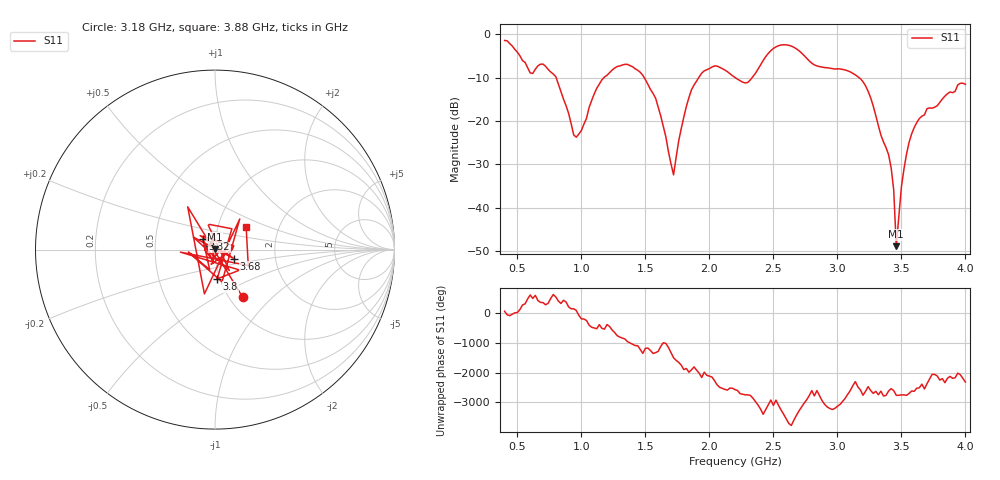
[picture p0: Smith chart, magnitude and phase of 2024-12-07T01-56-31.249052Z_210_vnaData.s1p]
!Created with skrf (http://scikit-rf.org).
# Hz S RI R 50.0
!freq ReS11 ImS11
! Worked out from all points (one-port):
!   181 points, 400 MHz to 4 GHz, reference 50 ohm
!   lowest |S11| = -48.9 dB at 3.46 GHz (marker M1), VSWR 1.01, Z = 49.8 + j0.312 ohm
!   |S11| at or under -10 dB: 802.4 MHz to 1.176 GHz (374 MHz wide, 37.8 % of centre); 1.49 GHz to 1.917 GHz (426.8 MHz wide, 25.1 % of centre); 3.168 GHz to end of sweep (the widest 3 of 4)
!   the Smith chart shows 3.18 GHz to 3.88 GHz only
!   S11 on the Smith chart (normalised r, x): 3.18 GHz: 1.15, -0.68; 3.32 GHz: 0.87, +0.10; 3.68 GHz: 1.23, -0.13; 3.8 GHz: 0.97, -0.33; 3.88 GHz: 1.36, +0.37
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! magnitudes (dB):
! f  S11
! 400 MHz  -1.5
! 600 MHz  -8.9
! 720 MHz  -7.4
! 860 MHz  -15.0
! 960 MHz  -23.7
! 1.14 GHz  -11.5
! 1.3 GHz  -7.3
! 1.46 GHz  -8.8
! 1.58 GHz  -14.8
! 1.72 GHz  -32.4
! 1.76 GHz  -24.6
! 1.86 GHz  -12.8
! 1.94 GHz  -9.0
! 2.2 GHz  -10.0
! 2.3 GHz  -11.1
! 2.66 GHz  -3.0
! 3.1 GHz  -8.7
! 3.18 GHz  -10.3
! 3.32 GHz  -21.1
! 3.42 GHz  -30.8
! 3.44 GHz  -35.9
! 3.46 GHz  -48.9
! 3.5 GHz  -35.2
! 3.56 GHz  -24.9
! 3.68 GHz  -18.6
! 3.8 GHz  -15.7
! 3.88 GHz  -13.3
! 4 GHz  -11.6
